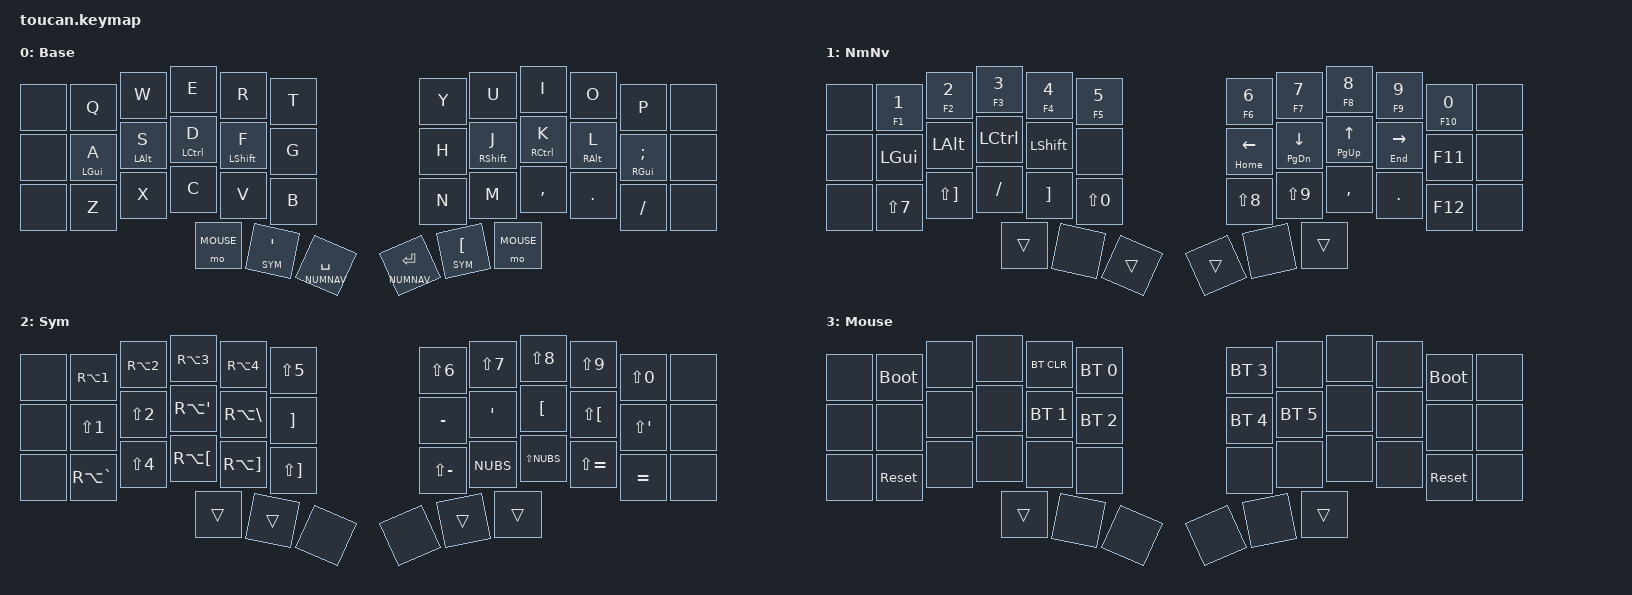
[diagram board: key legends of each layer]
/*
 * Toucan - 36-Key Layout (v3.1: Symmetric Thumbs + Mouse)
 * ========================================================
 * Fecha: 2026-06-22
 * SO: ES keyboard layout (Hyprland/Wayland)
 *
 * 36 teclas activas de las 42 del Toucan (3x6+3 por lado).
 * Las columnas exteriores están como &none.
 *
 * Los keycodes usan nombres US QWERTY (estándar ZMK/HID).
 * El SO interpreta según layout ES configurado en el sistema.
 *
 * Mapeo ES: SEMI=ñ, SQT=´(dead), LBKT=`(dead), RBKT=+, MINUS=',
 *           FSLH=-, NUBS=<, GRAVE=º, BSLH=ç
 *
 * Toucan key positions (42 keys, 0-indexed):
 *   Row 1: 0-5 (left), 6-11 (right)
 *   Row 2: 12-17 (left), 18-23 (right)
 *   Row 3: 24-29 (left), 30-35 (right)
 *   Thumbs: 36-38 (left), 39-41 (right)
 *
 * Active 36 keys (our layout):
 *   Top:    1  2  3  4  5       6  7  8  9  10
 *   Mid:    13 14 15 16 17      18 19 20 21 22
 *   Bot:    25 26 27 28 29      30 31 32 33 34
 *   Thumbs: 36 37 38           39 40 41
 *   (positions 0, 11, 12, 23, 24, 35 = &none)
 *
 * Thumbs (6 teclas):
 *   36: Mouse (outer left)        - hold=scroll mode + right/left click en otros thumbs
 *   37: Sym/´ (medio left)        - tap=´, hold=Sym layer
 *   38: NumNav/Space (inner left) - tap=Space, hold=NumNav layer
 *   39: NumNav/Enter (inner right)- tap=Enter, hold=NumNav layer
 *   40: Sym/` (medio right)       - tap=`, hold=Sym layer
 *   41: Mouse (outer right)       - hold=scroll mode + right/left click en otros thumbs
 */

#include <behaviors.dtsi>
#include <dt-bindings/zmk/keys.h>
#include <dt-bindings/zmk/bt.h>
#include <dt-bindings/zmk/outputs.h>

// Layer definitions
#define BASE     0
#define NUMNAV   1
#define SYM      2
#define MOUSE    3

/ {
    behaviors {
        // Home Row Mods - Left hand
        // Triggers on right-side keys + right thumbs
        hml: homerow_mod_left {
            compatible = "zmk,behavior-hold-tap";
            #binding-cells = <2>;
            label = "HOMEROW_MOD_LEFT";
            flavor = "balanced";
            tapping-term-ms = <250>;
            quick-tap-ms = <175>;
            require-prior-idle-ms = <150>;
            bindings = <&kp>, <&kp>;
            hold-trigger-key-positions = <6 7 8 9 10 18 19 20 21 22 30 31 32 33 34 40 41>;
            hold-trigger-on-release;
        };

        // Home Row Mods - Right hand
        // Triggers on left-side keys + left thumbs
        hmr: homerow_mod_right {
            compatible = "zmk,behavior-hold-tap";
            #binding-cells = <2>;
            label = "HOMEROW_MOD_RIGHT";
            flavor = "balanced";
            tapping-term-ms = <250>;
            quick-tap-ms = <175>;
            require-prior-idle-ms = <150>;
            bindings = <&kp>, <&kp>;
            hold-trigger-key-positions = <1 2 3 4 5 13 14 15 16 17 25 26 27 28 29 36 37>;
            hold-trigger-on-release;
        };

        // Layer-tap for left thumbs
        ltl: layer_tap_left {
            compatible = "zmk,behavior-hold-tap";
            #binding-cells = <2>;
            label = "LAYER_TAP_LEFT";
            flavor = "balanced";
            tapping-term-ms = <250>;
            quick-tap-ms = <175>;
            bindings = <&mo>, <&kp>;
        };

        // Layer-tap for right thumbs
        ltr: layer_tap_right {
            compatible = "zmk,behavior-hold-tap";
            #binding-cells = <2>;
            label = "LAYER_TAP_RIGHT";
            flavor = "balanced";
            tapping-term-ms = <250>;
            quick-tap-ms = <175>;
            bindings = <&mo>, <&kp>;
        };

        // Hold-tap for numbers/F-keys in NumNav layer
        // Tap = number (frequent), Hold = F-key (infrequent, deliberate)
        ht_num: hold_tap_num {
            compatible = "zmk,behavior-hold-tap";
            #binding-cells = <2>;
            label = "HOLD_TAP_NUM";
            flavor = "tap-preferred";
            tapping-term-ms = <200>;
            bindings = <&kp>, <&kp>;
        };

        // Hold-tap for arrows in NumNav layer
        // Tap = arrow, Hold = navigation (Home/End/PgUp/PgDn)
        // Longer tapping-term (300ms) to avoid accidental nav triggers.
        // quick-tap-ms (200ms) enables autorepeat via tap-then-hold pattern.
        ht_nav: hold_tap_nav {
            compatible = "zmk,behavior-hold-tap";
            #binding-cells = <2>;
            label = "HOLD_TAP_NAV";
            flavor = "tap-preferred";
            tapping-term-ms = <300>;
            quick-tap-ms = <200>;
            bindings = <&kp>, <&kp>;
        };

        // Hold-tap for mouse outer thumbs - REMOVED, using &mo directly
    };

    combos {
        compatible = "zmk,combos";

        // W + E = Esc  (positions 2 + 3)
        combo_esc {
            timeout-ms = <50>;
            key-positions = <2 3>;
            bindings = <&kp ESC>;
        };

        // D + F = Tab  (positions 15 + 16)
        combo_tab {
            timeout-ms = <50>;
            key-positions = <15 16>;
            bindings = <&kp TAB>;
        };

        // F + G = Caps Word  (positions 16 + 17)
        combo_capsword {
            timeout-ms = <50>;
            key-positions = <16 17>;
            bindings = <&caps_word>;
        };

        // Z + X = Undo / Ctrl+Z  (positions 25 + 26)
        combo_undo {
            timeout-ms = <50>;
            key-positions = <25 26>;
            bindings = <&kp LC(Z)>;
        };

        // X + C = Cut / Ctrl+X  (positions 26 + 27)
        combo_cut {
            timeout-ms = <50>;
            key-positions = <26 27>;
            bindings = <&kp LC(X)>;
        };

        // C + V = Copy / Ctrl+C  (positions 27 + 28)
        combo_copy {
            timeout-ms = <50>;
            key-positions = <27 28>;
            bindings = <&kp LC(C)>;
        };

        // V + B = Paste / Ctrl+V  (positions 28 + 29)
        combo_paste {
            timeout-ms = <50>;
            key-positions = <28 29>;
            bindings = <&kp LC(V)>;
        };

        // J + K = Backspace  (positions 19 + 20)
        combo_bksp {
            timeout-ms = <50>;
            key-positions = <19 20>;
            bindings = <&kp BSPC>;
        };

        // K + L = Delete  (positions 20 + 21)
        combo_del {
            timeout-ms = <50>;
            key-positions = <20 21>;
            bindings = <&kp DEL>;
        };
    };

    keymap {
        compatible = "zmk,keymap";

        // ========================================
        // LAYER 0: BASE (QWERTY + Home Row Mods)
        // ========================================
        //  Q    W    E    R    T        Y    U    I    O    P
        // GUI/A ALT/S CTL/D SFT/F G    H   SFT/J CTL/K ALT/L GUI/ñ
        //  Z    X    C    V    B        N    M    ,    .    -
        //        Mouse  Sym/´ NumNav/Sp   NumNav/En Sym/` Mouse
        layer_Base {
            display-name = "Base";
            bindings = <
                &none  &kp Q        &kp W        &kp E         &kp R         &kp T            &kp Y   &kp U         &kp I         &kp O        &kp P          &none
                &none  &hml LGUI A  &hml LALT S  &hml LCTRL D  &hml LSHFT F  &kp G            &kp H   &hmr RSHFT J  &hmr RCTRL K  &hmr RALT L  &hmr RGUI SEMI &none
                &none  &kp Z        &kp X        &kp C         &kp V         &kp B            &kp N   &kp M         &kp COMMA     &kp DOT      &kp FSLH       &none
                                    &mo MOUSE     &ltl SYM SQT  &ltl NUMNAV SPACE              &ltr NUMNAV RET  &ltr SYM LBKT  &mo MOUSE
            >;
        };

        // ========================================
        // LAYER 1: NUMNAV (Numbers + F-keys + Navigation + Math)
        // ========================================
        // Tap = number, Hold = F-key
        // Symmetric: accessible from left inner thumb (Space) or right inner thumb (Enter)
        //
        //  Tap:   1    2    3    4    5         6    7    8    9    0
        //  Hold:  F1   F2   F3   F4   F5        F6   F7   F8   F9   F10
        //        GUI  ALT  CTL  SFT  --     Lf*  Dn*  Up*  Rt*  F11
        //         /    *    -    +    =      (    )    ,    .   F12
        //
        // * Arrows have hold-tap: tap = arrow, hold = nav
        //   tap LEFT, hold HOME / tap DOWN, hold PG_DN / tap UP, hold PG_UP / tap RIGHT, hold END
        //
        // Math operators (ES layout):
        //   /  = LS(N7)        *  = LS(RBKT)
        //   -  = FSLH          +  = RBKT
        //   =  = LS(N0)        (  = LS(N8)        )  = LS(N9)
        layer_NumNav {
            display-name = "NmNv";
            bindings = <
                &none  &ht_num F1 N1  &ht_num F2 N2  &ht_num F3 N3   &ht_num F4 N4   &ht_num F5 N5         &ht_num F6 N6     &ht_num F7 N7      &ht_num F8 N8    &ht_num F9 N9     &ht_num F10 N0  &none
                &none  &kp LGUI       &kp LALT       &kp LCTRL       &kp LSHFT       &none                 &ht_nav HOME LEFT &ht_nav PG_DN DOWN &ht_nav PG_UP UP &ht_nav END RIGHT &kp F11         &none
                &none  &kp LS(N7)     &kp LS(RBKT)   &kp FSLH        &kp RBKT        &kp LS(N0)            &kp LS(N8)        &kp LS(N9)         &kp COMMA        &kp DOT           &kp F12         &none
                                      &trans          &none           &trans                                &trans            &none              &trans
            >;
        };

        // ========================================
        // LAYER 2: SYMBOLS (ES layout)
        // ========================================
        // Symmetric: accessible from left outer thumb (´) or right outer thumb (`)
        //
        // What you see (ES):
        //  |    @    #    ~    %        &    /    (    )    =
        //  !    "    {    }    +        '    ´    `    ^    ¨
        //  \    $    [    ]    *        ?    <    >    ¿    ¡
        layer_Sym {
            display-name = "Sym";
            bindings = <
                &none  &kp RA(N1)     &kp RA(N2)     &kp RA(N3)    &kp RA(N4)     &kp LS(N5)       &kp LS(N6)     &kp LS(N7)  &kp LS(N8)   &kp LS(N9)     &kp LS(N0)  &none
                &none  &kp LS(N1)     &kp LS(N2)     &kp RA(SQT)   &kp RA(BSLH)   &kp RBKT         &kp MINUS      &kp SQT     &kp LBKT     &kp LS(LBKT)   &kp LS(SQT) &none
                &none  &kp RA(GRAVE)  &kp LS(N4)     &kp RA(LBKT)  &kp RA(RBKT)   &kp LS(RBKT)     &kp LS(MINUS)  &kp NUBS    &kp LS(NUBS) &kp LS(EQUAL)  &kp EQUAL   &none
                                      &trans          &trans         &none                            &none          &trans      &trans
            >;
        };

        // ========================================
        // LAYER 3: MOUSE & SETTINGS
        // ========================================
        // Access via hold: outer thumbs (36 or 41)
        // Touchpad: movement = scroll, tap = RIGHT click
        // Top row: bootloader + BT
        // Bottom row: sys_reset
        layer_Mouse {
            display-name = "Mouse";
            bindings = <
                &none  &bootloader  &none        &none        &bt BT_CLR   &bt BT_SEL 0     &bt BT_SEL 3  &none        &none        &none        &bootloader  &none
                &none  &none        &none        &none        &bt BT_SEL 1 &bt BT_SEL 2     &bt BT_SEL 4  &bt BT_SEL 5 &none        &none        &none        &none
                &none  &sys_reset   &none        &none        &none        &none            &none         &none        &none        &none        &sys_reset   &none
                                    &trans       &none        &none                          &none         &none        &trans
            >;
        };

        // ========================================
        // LAYERS 4-5: Reserved for ZMK Studio
        // ========================================
        extra_1 {
            status = "reserved";
        };

        extra_2 {
            status = "reserved";
        };
    };
};
